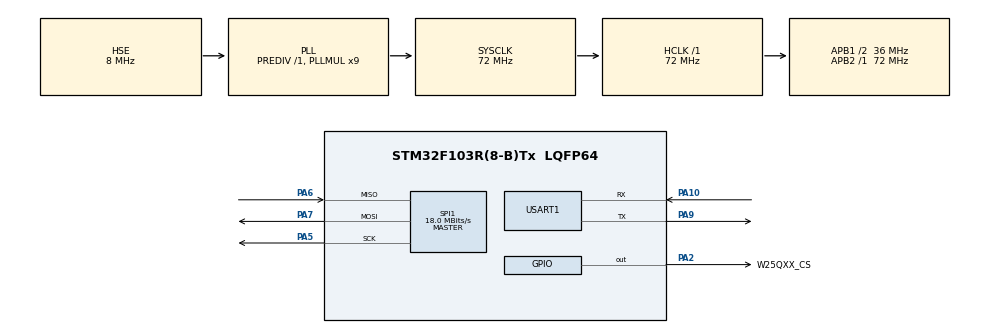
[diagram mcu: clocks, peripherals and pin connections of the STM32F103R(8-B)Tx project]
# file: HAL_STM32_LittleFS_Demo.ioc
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Mcu.Family=STM32F1
Mcu.Name=STM32F103R(8-B)Tx
Mcu.Package=LQFP64
NVIC.PriorityGroup=NVIC_PRIORITYGROUP_4
PA10.Mode=Asynchronous
PA10.Signal=USART1_RX
PA13.Mode=Serial_Wire
PA13.Signal=SYS_JTMS-SWDIO
PA14.Mode=Serial_Wire
PA14.Signal=SYS_JTCK-SWCLK
PA2.GPIO_Label=W25QXX_CS
PA2.GPIO_Speed=GPIO_SPEED_FREQ_HIGH
PA2.PinState=GPIO_PIN_SET
PA2.Signal=GPIO_Output
PA5.Mode=Full_Duplex_Master
PA5.Signal=SPI1_SCK
PA6.Mode=Full_Duplex_Master
PA6.Signal=SPI1_MISO
PA7.Mode=Full_Duplex_Master
PA7.Signal=SPI1_MOSI
PA9.Mode=Asynchronous
PA9.Signal=USART1_TX
PD0-OSC_IN.Mode=HSE-External-Oscillator
PD0-OSC_IN.Signal=RCC_OSC_IN
PD1-OSC_OUT.Mode=HSE-External-Oscillator
PD1-OSC_OUT.Signal=RCC_OSC_OUT
ProjectManager.HeapSize=0x0
ProjectManager.StackSize=0x400
ProjectManager.TargetToolchain=MDK-ARM V5
RCC.AHBFreq_Value=72000000
RCC.APB1CLKDivider=RCC_HCLK_DIV2
RCC.APB1Freq_Value=36000000
RCC.APB1TimFreq_Value=72000000
RCC.APB2Freq_Value=72000000
RCC.APB2TimFreq_Value=72000000
RCC.HCLKFreq_Value=72000000
RCC.PLLMUL=RCC_PLL_MUL9
RCC.PLLSourceVirtual=RCC_PLLSOURCE_HSE
RCC.SYSCLKFreq_VALUE=72000000
RCC.SYSCLKSource=RCC_SYSCLKSOURCE_PLLCLK
RCC.USBFreq_Value=72000000
SPI1.BaudRatePrescaler=SPI_BAUDRATEPRESCALER_4
SPI1.CalculateBaudRate=18.0 MBits/s
SPI1.Direction=SPI_DIRECTION_2LINES
SPI1.Mode=SPI_MODE_MASTER
SPI1.VirtualType=VM_MASTER
USART1.VirtualMode=VM_ASYNC
board=custom

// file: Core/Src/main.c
/* USER CODE BEGIN Header */
/**
  ******************************************************************************
  * @file           : main.c
  * @brief          : Main program body
  ******************************************************************************
  * @attention
  *
  * <h2><center>&copy; Copyright (c) 2021 STMicroelectronics.
  * All rights reserved.</center></h2>
  *
  * This software component is licensed by ST under BSD 3-Clause license,
  * the "License"; You may not use this file except in compliance with the
  * License. You may obtain a copy of the License at:
  *                        opensource.org/licenses/BSD-3-Clause
  *
  ******************************************************************************
  */
/* USER CODE END Header */
#include "main.h"
#include "spi.h"
#include "usart.h"
#include "gpio.h"

/* USER CODE BEGIN Includes */
#include "w25qxx.h"
#include <stdio.h>
/* USER CODE END Includes */

void SystemClock_Config(void);

/* USER CODE BEGIN 0 */

int fputc(int ch, FILE* fp)
{
	HAL_UART_Transmit(&huart1, (uint8_t *)&ch, 1, HAL_MAX_DELAY);
	return ch;
}

extern void lfs_test(void);

int main(void)
{
	HAL_Init();
	SystemClock_Config();
	MX_GPIO_Init();
	MX_SPI1_Init();
	MX_USART1_UART_Init();

	printf("\r\n\r\n");
	printf("+------------------------------------------------------+\r\n");
	printf("|                 W25QXX & LittleFS Demo               |\r\n");
	printf("+------------------------------------------------------+\r\n");

	W25QXX_Init();

	printf(" W25QXX ID   :0X%0X\r\n", W25QXX_TYPE);

	printf(" W25QXX SIZE :%d\r\n", W25QXX_SIZE);

	lfs_test();

	while(1)
	{
		HAL_Delay(1);
	}
}

/* USER CODE END 0 */

int main2(void)
{

  /* MCU Configuration--------------------------------------------------------*/

  /* Reset of all peripherals, Initializes the Flash interface and the Systick. */
  HAL_Init();

  /* Configure the system clock */
  SystemClock_Config();

  /* Initialize all configured peripherals */
  MX_GPIO_Init();
  MX_SPI1_Init();
  MX_USART1_UART_Init();

  /* Infinite loop */
  while (1)
  {

  }
}

void SystemClock_Config(void)
{
  RCC_OscInitTypeDef RCC_OscInitStruct = {0};
  RCC_ClkInitTypeDef RCC_ClkInitStruct = {0};

  /** Initializes the RCC Oscillators according to the specified parameters
  * in the RCC_OscInitTypeDef structure.
  */
  RCC_OscInitStruct.OscillatorType = RCC_OSCILLATORTYPE_HSE;
  RCC_OscInitStruct.HSEState = RCC_HSE_ON;
  RCC_OscInitStruct.HSEPredivValue = RCC_HSE_PREDIV_DIV1;
  RCC_OscInitStruct.HSIState = RCC_HSI_ON;
  RCC_OscInitStruct.PLL.PLLState = RCC_PLL_ON;
  RCC_OscInitStruct.PLL.PLLSource = RCC_PLLSOURCE_HSE;
  RCC_OscInitStruct.PLL.PLLMUL = RCC_PLL_MUL9;
  if (HAL_RCC_OscConfig(&RCC_OscInitStruct) != HAL_OK)
  {
    Error_Handler();
  }
  /** Initializes the CPU, AHB and APB buses clocks
  */
  RCC_ClkInitStruct.ClockType = RCC_CLOCKTYPE_HCLK|RCC_CLOCKTYPE_SYSCLK
                              |RCC_CLOCKTYPE_PCLK1|RCC_CLOCKTYPE_PCLK2;
  RCC_ClkInitStruct.SYSCLKSource = RCC_SYSCLKSOURCE_PLLCLK;
  RCC_ClkInitStruct.AHBCLKDivider = RCC_SYSCLK_DIV1;
  RCC_ClkInitStruct.APB1CLKDivider = RCC_HCLK_DIV2;
  RCC_ClkInitStruct.APB2CLKDivider = RCC_HCLK_DIV1;

  if (HAL_RCC_ClockConfig(&RCC_ClkInitStruct, FLASH_LATENCY_2) != HAL_OK)
  {
    Error_Handler();
  }
}

void Error_Handler(void)
{
  __disable_irq();
  while (1)
  {
  }
}

/************************ (C) COPYRIGHT STMicroelectronics *****END OF FILE****/
